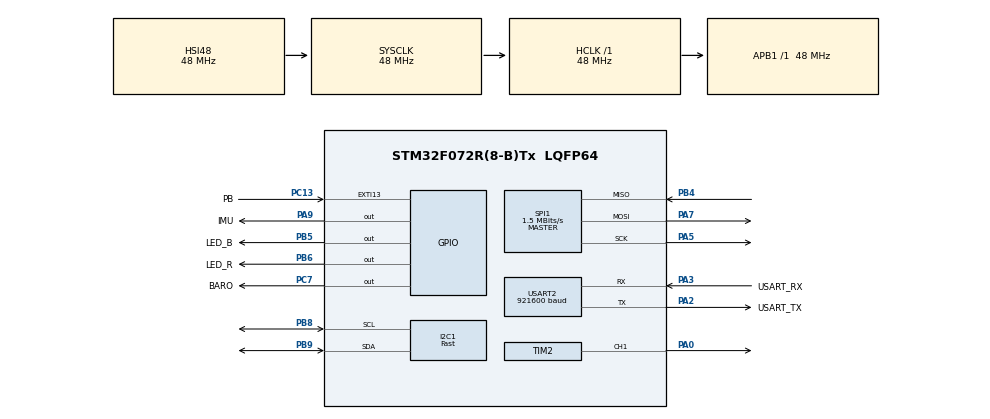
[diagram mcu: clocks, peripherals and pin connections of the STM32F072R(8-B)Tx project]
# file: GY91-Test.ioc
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Dma.Request0=TIM3_CH3
Dma.Request1=TIM6_UP
Dma.Request2=TIM2_CH1
Dma.TIM2_CH1.2.Direction=DMA_MEMORY_TO_PERIPH
Dma.TIM2_CH1.2.Instance=DMA1_Channel5
Dma.TIM2_CH1.2.MemDataAlignment=DMA_MDATAALIGN_BYTE
Dma.TIM2_CH1.2.MemInc=DMA_MINC_ENABLE
Dma.TIM2_CH1.2.Mode=DMA_CIRCULAR
Dma.TIM2_CH1.2.PeriphDataAlignment=DMA_PDATAALIGN_BYTE
Dma.TIM2_CH1.2.PeriphInc=DMA_PINC_DISABLE
Dma.TIM2_CH1.2.Priority=DMA_PRIORITY_HIGH
Dma.TIM3_CH3.0.Direction=DMA_MEMORY_TO_PERIPH
Dma.TIM3_CH3.0.Instance=DMA1_Channel2
Dma.TIM3_CH3.0.MemDataAlignment=DMA_MDATAALIGN_WORD
Dma.TIM3_CH3.0.MemInc=DMA_MINC_ENABLE
Dma.TIM3_CH3.0.Mode=DMA_CIRCULAR
Dma.TIM3_CH3.0.PeriphDataAlignment=DMA_PDATAALIGN_WORD
Dma.TIM3_CH3.0.PeriphInc=DMA_PINC_DISABLE
Dma.TIM3_CH3.0.Priority=DMA_PRIORITY_LOW
Dma.TIM6_UP.1.Direction=DMA_MEMORY_TO_PERIPH
Dma.TIM6_UP.1.Instance=DMA1_Channel3
Dma.TIM6_UP.1.MemDataAlignment=DMA_MDATAALIGN_WORD
Dma.TIM6_UP.1.MemInc=DMA_MINC_ENABLE
Dma.TIM6_UP.1.Mode=DMA_CIRCULAR
Dma.TIM6_UP.1.PeriphDataAlignment=DMA_PDATAALIGN_WORD
Dma.TIM6_UP.1.PeriphInc=DMA_PINC_DISABLE
Dma.TIM6_UP.1.Priority=DMA_PRIORITY_HIGH
I2C1.I2C_Speed_Mode=I2C_Fast
I2C1.Timing=0x0000020B
Mcu.Family=STM32F0
Mcu.Name=STM32F072R(8-B)Tx
Mcu.Package=LQFP64
NVIC.DMA1_Channel2_3_IRQn=true\:0\:0\:false\:false\:true\:false\:true
NVIC.DMA1_Channel4_5_6_7_IRQn=true\:0\:0\:false\:false\:true\:false\:true
NVIC.TIM2_IRQn=true\:1\:0\:true\:false\:true\:true\:true
NVIC.TIM3_IRQn=true\:0\:0\:false\:false\:true\:true\:true
NVIC.TIM6_DAC_IRQn=true\:0\:0\:false\:false\:true\:true\:true
PA0.Signal=S_TIM2_CH1_ETR
PA13.GPIO_Label=TMS
PA13.Mode=Serial_Wire
PA13.Signal=SYS_SWDIO
PA14.GPIO_Label=TCK
PA14.Mode=Serial_Wire
PA14.Signal=SYS_SWCLK
PA2.GPIO_Label=USART_TX
PA2.GPIO_Mode=GPIO_MODE_AF_PP
PA2.GPIO_PuPd=GPIO_NOPULL
PA2.GPIO_Speed=GPIO_SPEED_FREQ_LOW
PA2.Mode=Asynchronous
PA2.Signal=USART2_TX
PA3.GPIO_Label=USART_RX
PA3.GPIO_Mode=GPIO_MODE_AF_PP
PA3.GPIO_PuPd=GPIO_NOPULL
PA3.GPIO_Speed=GPIO_SPEED_FREQ_LOW
PA3.Mode=Asynchronous
PA3.Signal=USART2_RX
PA5.Mode=Full_Duplex_Master
PA5.Signal=SPI1_SCK
PA7.Mode=Full_Duplex_Master
PA7.Signal=SPI1_MOSI
PA9.GPIO_Label=IMU
PA9.GPIO_Speed=GPIO_SPEED_FREQ_HIGH
PA9.PinState=GPIO_PIN_SET
PA9.Signal=GPIO_Output
PB4.Mode=Full_Duplex_Master
PB4.Signal=SPI1_MISO
PB5.GPIO_Label=LED_B
PB5.Signal=GPIO_Output
PB6.GPIO_Label=LED_R
PB6.Signal=GPIO_Output
PB8.Mode=I2C
PB8.Signal=I2C1_SCL
PB9.Mode=I2C
PB9.Signal=I2C1_SDA
PC13.GPIO_Label=PB
PC13.GPIO_ModeDefaultEXTI=GPIO_MODE_IT_FALLING
PC13.Signal=GPXTI13
PC14-OSC32_IN.Mode=LSE-External-Oscillator
PC14-OSC32_IN.Signal=RCC_OSC32_IN
PC15-OSC32_OUT.Mode=LSE-External-Oscillator
PC15-OSC32_OUT.Signal=RCC_OSC32_OUT
PC7.GPIO_Label=BARO
PC7.Signal=GPIO_Output
PF0-OSC_IN.Mode=HSE-External-Clock-Source
PF0-OSC_IN.Signal=RCC_OSC_IN
PF1-OSC_OUT.Signal=RCC_OSC_OUT
ProjectManager.HeapSize=0x200
ProjectManager.StackSize=0x400
ProjectManager.TargetToolchain=STM32CubeIDE
RCC.AHBFreq_Value=48000000
RCC.APB1Freq_Value=48000000
RCC.APB1TimFreq_Value=48000000
RCC.FLatency-AdvancedSettings=FLASH_LATENCY_1
RCC.HCLKFreq_Value=48000000
RCC.PLLDivider=RCC_PREDIV_DIV2
RCC.PLLMUL=RCC_PLL_MUL12
RCC.PREFETCH_ENABLE-AdvancedSettings=1
RCC.SYSCLKFreq_VALUE=48000000
RCC.SYSCLKSource=RCC_SYSCLKSOURCE_HSI48
SH.S_TIM2_CH1_ETR.0=TIM2_CH1,PWM Generation1 CH1
SPI1.BaudRatePrescaler=SPI_BAUDRATEPRESCALER_32
SPI1.CalculateBaudRate=1.5 MBits/s
SPI1.DataSize=SPI_DATASIZE_8BIT
SPI1.Direction=SPI_DIRECTION_2LINES
SPI1.Mode=SPI_MODE_MASTER
SPI1.VirtualType=VM_MASTER
TIM2.AutoReloadPreload=TIM_AUTORELOAD_PRELOAD_ENABLE
TIM2.Channel-PWM\ Generation1\ CH1=TIM_CHANNEL_1
TIM2.Period=682
TIM2.Prescaler=0
TIM3.AutoReloadPreload=TIM_AUTORELOAD_PRELOAD_ENABLE
TIM3.Channel-Output\ Compare3\ No\ Output=TIM_CHANNEL_3
TIM3.Period=100
TIM6.AutoReloadPreload=TIM_AUTORELOAD_PRELOAD_ENABLE
TIM6.Period=100
TIM6.Prescaler=0
USART2.BaudRate=921600
USART2.VirtualMode=VM_ASYNC
USART2.VirtualMode-Asynchronous=VM_ASYNC
VP_TIM2_VS_ClockSourceINT.Mode=Internal
VP_TIM3_VS_ClockSourceINT.Mode=Internal
VP_TIM3_VS_no_output3.Mode=Output Compare3 No Output
VP_TIM6_VS_ClockSourceINT.Mode=Enable_Timer
board=NUCLEO-F072RB

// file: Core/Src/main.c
/* USER CODE BEGIN Header */
/**
  ******************************************************************************
  * @file           : main.c
  * @brief          : Main program body
  ******************************************************************************
  * @attention
  *
  * <h2><center>&copy; Copyright (c) 2021 STMicroelectronics.
  * All rights reserved.</center></h2>
  *
  * This software component is licensed by ST under BSD 3-Clause license,
  * the "License"; You may not use this file except in compliance with the
  * License. You may obtain a copy of the License at:
  *                        opensource.org/licenses/BSD-3-Clause
  *
  ******************************************************************************
  */
/* USER CODE END Header */
#include "main.h"

/* USER CODE BEGIN Includes */
#include <stdio.h>
#include "Pressure.h"
/* USER CODE END Includes */

/* USER CODE BEGIN PM */
#define NS       128
#define TIM3CLK  48000000
#define F_SIGNAL 2000
/* USER CODE END PM */

I2C_HandleTypeDef hi2c1;

SPI_HandleTypeDef hspi1;

TIM_HandleTypeDef htim2;
TIM_HandleTypeDef htim3;
TIM_HandleTypeDef htim6;
DMA_HandleTypeDef hdma_tim2_ch1;
DMA_HandleTypeDef hdma_tim3_ch3;
DMA_HandleTypeDef hdma_tim6_up;

UART_HandleTypeDef huart2;

/* USER CODE BEGIN PV */
uint32_t Wave_LUT[NS] = {
    512, 537, 562, 587, 612, 637, 661, 685, 709, 732, 754, 776, 798, 818, 838,
    857, 875, 893, 909, 925, 939, 952, 965, 976, 986, 995, 1002, 1009, 1014, 1018,
    1021, 1023, 1023, 1022, 1020, 1016, 1012, 1006, 999, 990, 981, 970, 959, 946, 932,
    917, 901, 884, 866, 848, 828, 808, 787, 765, 743, 720, 697, 673, 649, 624,
    600, 575, 549, 524, 499, 474, 448, 423, 399, 374, 350, 326, 303, 280, 258,
    236, 215, 195, 175, 157, 139, 122, 106, 91, 77, 64, 53, 42, 33, 24,
    17, 11, 7, 3, 1, 0, 0, 2, 5, 9, 14, 21, 28, 37, 47,
    58, 71, 84, 98, 114, 130, 148, 166, 185, 205, 225, 247, 269, 291, 314,
    338, 362, 386, 411, 436, 461, 486, 511
};

uint32_t DestAddress = (uint32_t) &(TIM2->CCR1);
uint32_t TIM3_Ticks = TIM3CLK / (NS * F_SIGNAL);
/* USER CODE END PV */

void SystemClock_Config(void);
static void MX_GPIO_Init(void);
static void MX_DMA_Init(void);
static void MX_SPI1_Init(void);
static void MX_USART2_UART_Init(void);
static void MX_I2C1_Init(void);
static void MX_TIM2_Init(void);
static void MX_TIM3_Init(void);
static void MX_TIM6_Init(void);

/* USER CODE BEGIN 0 */
int _write(int file, char *ptr, int len)
{
	HAL_UART_Transmit(&huart2, (uint8_t *)ptr, len, 1000);

	return len;
}
/* USER CODE END 0 */

int main(void)
{

  /* MCU Configuration--------------------------------------------------------*/

  /* Reset of all peripherals, Initializes the Flash interface and the Systick. */
  HAL_Init();

  /* Configure the system clock */
  SystemClock_Config();

  /* Initialize all configured peripherals */
  MX_GPIO_Init();
  MX_DMA_Init();
  MX_SPI1_Init();
  MX_USART2_UART_Init();
  MX_I2C1_Init();
  MX_TIM2_Init();
  MX_TIM3_Init();
  MX_TIM6_Init();

  /* Infinite loop */
  /* USER CODE BEGIN WHILE */
#if TEST_BAROMETER
  if (baro_init() < 0)
#else
  if (vario_init() < 0)
#endif
  {
	  printf("initialization failed!!\n");
  }

  HAL_TIM_PWM_Start(&htim2, TIM_CHANNEL_1);
  HAL_TIM_OC_Start(&htim3, TIM_CHANNEL_3);
  HAL_DMA_Start_IT(&hdma_tim3_ch3, (uint32_t)Wave_LUT, DestAddress, NS);
  __HAL_TIM_ENABLE_DMA(&htim3, TIM_DMA_CC3);

  HAL_TIM_Base_Start_IT(&htim6);

  uint32_t lastTick = HAL_GetTick();

  while (1)
  {
	  HAL_Delay(1);
  }

  while (1)
  {
#if TEST_BAROMETER
	  baro_measure();
	  HAL_Delay(1);
#if 0
		  printf("%.2f %.2f %.2f\n", baro_getPressure(), baro_getTemperature(), baro_getAltitude());
#else
		  printf("%.0f\n", baro_getAltitude() * 100);
#endif
#else
	  float v = vario_update();
	  HAL_Delay(10);
#endif

	  if (HAL_GetTick() - lastTick > 50)
	  {
		  printf("%.0f\n", v * 100);
		  lastTick = HAL_GetTick();
	  }

#if 0
	  // Case of BMP280(SPI)
	  {
		  HAL_GPIO_WritePin(CS2_GPIO_Port, CS2_Pin, GPIO_PIN_RESET);
		  uint8_t tx = 0xD0;
		  uint8_t rx = 0xFF;
		  HAL_SPI_Transmit(&hspi1, &tx, 1, 1000);
		  tx = 0x00;
		  HAL_SPI_TransmitReceive(&hspi1, &tx, &rx, 1, 1000);
		  HAL_GPIO_WritePin(CS2_GPIO_Port, CS2_Pin, GPIO_PIN_SET);
		  //HAL_Delay(1);
	  }
#endif

#if 0
	  // Case of MPU9560(SPI)
	  {
		  HAL_GPIO_WritePin(CS1_GPIO_Port, CS1_Pin, GPIO_PIN_RESET);
		  uint8_t tx = 0x75 | 0x80;
		  uint8_t rx = 0xFF;
		  HAL_SPI_Transmit(&hspi1, &tx, 1, 1000);
		  tx = 0x00;
		  HAL_SPI_TransmitReceive(&hspi1, &tx, &rx, 1, 1000);
		  HAL_GPIO_WritePin(CS1_GPIO_Port, CS1_Pin, GPIO_PIN_SET);
		  //HAL_Delay(1);
	  }
#endif

#if 0
	  // BMP280
	  {
		  uint16_t addr = (0x76 << 1);
		  uint8_t reg = 0xD0;
		  uint8_t value = 0;
		  HAL_I2C_Mem_Read(&hi2c1, addr, reg, 1, &value, 1, 1000);
		  //printf("%d\n", value);
	  }
#endif

#if 0
	  // MPU9560
	  {
		  uint16_t addr = (0x68 << 1);
		  uint8_t reg = 0x75;
		  uint8_t value = 0;
		  HAL_I2C_Mem_Read(&hi2c1, addr, reg, 1, &value, 1, 1000);
		  //printf("%d\n", value);
	  }
#endif

    /* USER CODE END WHILE */

  }
}

void SystemClock_Config(void)
{
  RCC_OscInitTypeDef RCC_OscInitStruct = {0};
  RCC_ClkInitTypeDef RCC_ClkInitStruct = {0};
  RCC_PeriphCLKInitTypeDef PeriphClkInit = {0};

  /** Initializes the RCC Oscillators according to the specified parameters
  * in the RCC_OscInitTypeDef structure.
  */
  RCC_OscInitStruct.OscillatorType = RCC_OSCILLATORTYPE_HSI|RCC_OSCILLATORTYPE_HSI48;
  RCC_OscInitStruct.HSIState = RCC_HSI_ON;
  RCC_OscInitStruct.HSI48State = RCC_HSI48_ON;
  RCC_OscInitStruct.HSICalibrationValue = RCC_HSICALIBRATION_DEFAULT;
  RCC_OscInitStruct.PLL.PLLState = RCC_PLL_NONE;
  if (HAL_RCC_OscConfig(&RCC_OscInitStruct) != HAL_OK)
  {
    Error_Handler();
  }
  /** Initializes the CPU, AHB and APB buses clocks
  */
  RCC_ClkInitStruct.ClockType = RCC_CLOCKTYPE_HCLK|RCC_CLOCKTYPE_SYSCLK
                              |RCC_CLOCKTYPE_PCLK1;
  RCC_ClkInitStruct.SYSCLKSource = RCC_SYSCLKSOURCE_HSI48;
  RCC_ClkInitStruct.AHBCLKDivider = RCC_SYSCLK_DIV1;
  RCC_ClkInitStruct.APB1CLKDivider = RCC_HCLK_DIV1;

  if (HAL_RCC_ClockConfig(&RCC_ClkInitStruct, FLASH_LATENCY_1) != HAL_OK)
  {
    Error_Handler();
  }
  PeriphClkInit.PeriphClockSelection = RCC_PERIPHCLK_USART2|RCC_PERIPHCLK_I2C1;
  PeriphClkInit.Usart2ClockSelection = RCC_USART2CLKSOURCE_PCLK1;
  PeriphClkInit.I2c1ClockSelection = RCC_I2C1CLKSOURCE_HSI;
  if (HAL_RCCEx_PeriphCLKConfig(&PeriphClkInit) != HAL_OK)
  {
    Error_Handler();
  }
}

static void MX_I2C1_Init(void)
{

  hi2c1.Instance = I2C1;
  hi2c1.Init.Timing = 0x0000020B;
  hi2c1.Init.OwnAddress1 = 0;
  hi2c1.Init.AddressingMode = I2C_ADDRESSINGMODE_7BIT;
  hi2c1.Init.DualAddressMode = I2C_DUALADDRESS_DISABLE;
  hi2c1.Init.OwnAddress2 = 0;
  hi2c1.Init.OwnAddress2Masks = I2C_OA2_NOMASK;
  hi2c1.Init.GeneralCallMode = I2C_GENERALCALL_DISABLE;
  hi2c1.Init.NoStretchMode = I2C_NOSTRETCH_DISABLE;
  if (HAL_I2C_Init(&hi2c1) != HAL_OK)
  {
    Error_Handler();
  }
  /** Configure Analogue filter
  */
  if (HAL_I2CEx_ConfigAnalogFilter(&hi2c1, I2C_ANALOGFILTER_ENABLE) != HAL_OK)
  {
    Error_Handler();
  }
  /** Configure Digital filter
  */
  if (HAL_I2CEx_ConfigDigitalFilter(&hi2c1, 0) != HAL_OK)
  {
    Error_Handler();
  }

}

static void MX_SPI1_Init(void)
{

  /* SPI1 parameter configuration*/
  hspi1.Instance = SPI1;
  hspi1.Init.Mode = SPI_MODE_MASTER;
  hspi1.Init.Direction = SPI_DIRECTION_2LINES;
  hspi1.Init.DataSize = SPI_DATASIZE_8BIT;
  hspi1.Init.CLKPolarity = SPI_POLARITY_LOW;
  hspi1.Init.CLKPhase = SPI_PHASE_1EDGE;
  hspi1.Init.NSS = SPI_NSS_SOFT;
  hspi1.Init.BaudRatePrescaler = SPI_BAUDRATEPRESCALER_32;
  hspi1.Init.FirstBit = SPI_FIRSTBIT_MSB;
  hspi1.Init.TIMode = SPI_TIMODE_DISABLE;
  hspi1.Init.CRCCalculation = SPI_CRCCALCULATION_DISABLE;
  hspi1.Init.CRCPolynomial = 7;
  hspi1.Init.CRCLength = SPI_CRC_LENGTH_DATASIZE;
  hspi1.Init.NSSPMode = SPI_NSS_PULSE_ENABLE;
  if (HAL_SPI_Init(&hspi1) != HAL_OK)
  {
    Error_Handler();
  }

}

static void MX_TIM2_Init(void)
{

  TIM_ClockConfigTypeDef sClockSourceConfig = {0};
  TIM_MasterConfigTypeDef sMasterConfig = {0};
  TIM_OC_InitTypeDef sConfigOC = {0};

  htim2.Instance = TIM2;
  htim2.Init.Prescaler = 0;
  htim2.Init.CounterMode = TIM_COUNTERMODE_UP;
  htim2.Init.Period = 1023; // 682;
  htim2.Init.ClockDivision = TIM_CLOCKDIVISION_DIV1;
  htim2.Init.AutoReloadPreload = TIM_AUTORELOAD_PRELOAD_ENABLE;
  if (HAL_TIM_Base_Init(&htim2) != HAL_OK)
  {
    Error_Handler();
  }
  sClockSourceConfig.ClockSource = TIM_CLOCKSOURCE_INTERNAL;
  if (HAL_TIM_ConfigClockSource(&htim2, &sClockSourceConfig) != HAL_OK)
  {
    Error_Handler();
  }
  if (HAL_TIM_PWM_Init(&htim2) != HAL_OK)
  {
    Error_Handler();
  }
  sMasterConfig.MasterOutputTrigger = TIM_TRGO_RESET;
  sMasterConfig.MasterSlaveMode = TIM_MASTERSLAVEMODE_DISABLE;
  if (HAL_TIMEx_MasterConfigSynchronization(&htim2, &sMasterConfig) != HAL_OK)
  {
    Error_Handler();
  }
  sConfigOC.OCMode = TIM_OCMODE_PWM1;
  sConfigOC.Pulse = 0;
  sConfigOC.OCPolarity = TIM_OCPOLARITY_HIGH;
  sConfigOC.OCFastMode = TIM_OCFAST_DISABLE;
  if (HAL_TIM_PWM_ConfigChannel(&htim2, &sConfigOC, TIM_CHANNEL_1) != HAL_OK)
  {
    Error_Handler();
  }
  HAL_TIM_MspPostInit(&htim2);

}

static void MX_TIM3_Init(void)
{

  TIM_ClockConfigTypeDef sClockSourceConfig = {0};
  TIM_MasterConfigTypeDef sMasterConfig = {0};
  TIM_OC_InitTypeDef sConfigOC = {0};

  htim3.Instance = TIM3;
  htim3.Init.Prescaler = 0;
  htim3.Init.CounterMode = TIM_COUNTERMODE_UP;
  htim3.Init.Period = TIM3_Ticks;
  htim3.Init.ClockDivision = TIM_CLOCKDIVISION_DIV1;
  htim3.Init.AutoReloadPreload = TIM_AUTORELOAD_PRELOAD_ENABLE;
  if (HAL_TIM_Base_Init(&htim3) != HAL_OK)
  {
    Error_Handler();
  }
  sClockSourceConfig.ClockSource = TIM_CLOCKSOURCE_INTERNAL;
  if (HAL_TIM_ConfigClockSource(&htim3, &sClockSourceConfig) != HAL_OK)
  {
    Error_Handler();
  }
  if (HAL_TIM_OC_Init(&htim3) != HAL_OK)
  {
    Error_Handler();
  }
  sMasterConfig.MasterOutputTrigger = TIM_TRGO_RESET;
  sMasterConfig.MasterSlaveMode = TIM_MASTERSLAVEMODE_DISABLE;
  if (HAL_TIMEx_MasterConfigSynchronization(&htim3, &sMasterConfig) != HAL_OK)
  {
    Error_Handler();
  }
  sConfigOC.OCMode = TIM_OCMODE_TIMING;
  sConfigOC.Pulse = 0;
  sConfigOC.OCPolarity = TIM_OCPOLARITY_HIGH;
  sConfigOC.OCFastMode = TIM_OCFAST_DISABLE;
  if (HAL_TIM_OC_ConfigChannel(&htim3, &sConfigOC, TIM_CHANNEL_3) != HAL_OK)
  {
    Error_Handler();
  }

}

static void MX_TIM6_Init(void)
{

  TIM_MasterConfigTypeDef sMasterConfig = {0};

  htim6.Instance = TIM6;
  htim6.Init.Prescaler = 0;
  htim6.Init.CounterMode = TIM_COUNTERMODE_UP;
  htim6.Init.Period = 100;
  htim6.Init.AutoReloadPreload = TIM_AUTORELOAD_PRELOAD_ENABLE;
  if (HAL_TIM_Base_Init(&htim6) != HAL_OK)
  {
    Error_Handler();
  }
  sMasterConfig.MasterOutputTrigger = TIM_TRGO_RESET;
  sMasterConfig.MasterSlaveMode = TIM_MASTERSLAVEMODE_DISABLE;
  if (HAL_TIMEx_MasterConfigSynchronization(&htim6, &sMasterConfig) != HAL_OK)
  {
    Error_Handler();
  }

}

static void MX_USART2_UART_Init(void)
{

  huart2.Instance = USART2;
  huart2.Init.BaudRate = 921600;
  huart2.Init.WordLength = UART_WORDLENGTH_8B;
  huart2.Init.StopBits = UART_STOPBITS_1;
  huart2.Init.Parity = UART_PARITY_NONE;
  huart2.Init.Mode = UART_MODE_TX_RX;
  huart2.Init.HwFlowCtl = UART_HWCONTROL_NONE;
  huart2.Init.OverSampling = UART_OVERSAMPLING_16;
  huart2.Init.OneBitSampling = UART_ONE_BIT_SAMPLE_DISABLE;
  huart2.AdvancedInit.AdvFeatureInit = UART_ADVFEATURE_NO_INIT;
  if (HAL_UART_Init(&huart2) != HAL_OK)
  {
    Error_Handler();
  }

}

static void MX_DMA_Init(void)
{

  /* DMA controller clock enable */
  __HAL_RCC_DMA1_CLK_ENABLE();

  /* DMA interrupt init */
  /* DMA1_Channel2_3_IRQn interrupt configuration */
  HAL_NVIC_SetPriority(DMA1_Channel2_3_IRQn, 0, 0);
  HAL_NVIC_EnableIRQ(DMA1_Channel2_3_IRQn);
  /* DMA1_Channel4_5_6_7_IRQn interrupt configuration */
  HAL_NVIC_SetPriority(DMA1_Channel4_5_6_7_IRQn, 0, 0);
  HAL_NVIC_EnableIRQ(DMA1_Channel4_5_6_7_IRQn);

}

static void MX_GPIO_Init(void)
{
  GPIO_InitTypeDef GPIO_InitStruct = {0};

  /* GPIO Ports Clock Enable */
  __HAL_RCC_GPIOC_CLK_ENABLE();
  __HAL_RCC_GPIOF_CLK_ENABLE();
  __HAL_RCC_GPIOA_CLK_ENABLE();
  __HAL_RCC_GPIOB_CLK_ENABLE();

  /*Configure GPIO pin Output Level */
  HAL_GPIO_WritePin(BARO_GPIO_Port, BARO_Pin, GPIO_PIN_RESET);

  /*Configure GPIO pin Output Level */
  HAL_GPIO_WritePin(IMU_GPIO_Port, IMU_Pin, GPIO_PIN_SET);

  /*Configure GPIO pin Output Level */
  HAL_GPIO_WritePin(GPIOB, LED_B_Pin|LED_R_Pin, GPIO_PIN_RESET);

  /*Configure GPIO pin : PB_Pin */
  GPIO_InitStruct.Pin = PB_Pin;
  GPIO_InitStruct.Mode = GPIO_MODE_IT_FALLING;
  GPIO_InitStruct.Pull = GPIO_NOPULL;
  HAL_GPIO_Init(PB_GPIO_Port, &GPIO_InitStruct);

  /*Configure GPIO pin : BARO_Pin */
  GPIO_InitStruct.Pin = BARO_Pin;
  GPIO_InitStruct.Mode = GPIO_MODE_OUTPUT_PP;
  GPIO_InitStruct.Pull = GPIO_NOPULL;
  GPIO_InitStruct.Speed = GPIO_SPEED_FREQ_LOW;
  HAL_GPIO_Init(BARO_GPIO_Port, &GPIO_InitStruct);

  /*Configure GPIO pin : IMU_Pin */
  GPIO_InitStruct.Pin = IMU_Pin;
  GPIO_InitStruct.Mode = GPIO_MODE_OUTPUT_PP;
  GPIO_InitStruct.Pull = GPIO_NOPULL;
  GPIO_InitStruct.Speed = GPIO_SPEED_FREQ_HIGH;
  HAL_GPIO_Init(IMU_GPIO_Port, &GPIO_InitStruct);

  /*Configure GPIO pins : LED_B_Pin LED_R_Pin */
  GPIO_InitStruct.Pin = LED_B_Pin|LED_R_Pin;
  GPIO_InitStruct.Mode = GPIO_MODE_OUTPUT_PP;
  GPIO_InitStruct.Pull = GPIO_NOPULL;
  GPIO_InitStruct.Speed = GPIO_SPEED_FREQ_LOW;
  HAL_GPIO_Init(GPIOB, &GPIO_InitStruct);

}

/* USER CODE BEGIN 4 */

void HAL_TIM_PeriodElapsedCallback(TIM_HandleTypeDef* htim)
{
	if (htim->Instance == TIM6)
	{
		HAL_GPIO_TogglePin(GPIOB, LED_R_Pin);
	}
}

/* USER CODE END 4 */

void Error_Handler(void)
{
  __disable_irq();
  while (1)
  {
  }
}

/************************ (C) COPYRIGHT STMicroelectronics *****END OF FILE****/
